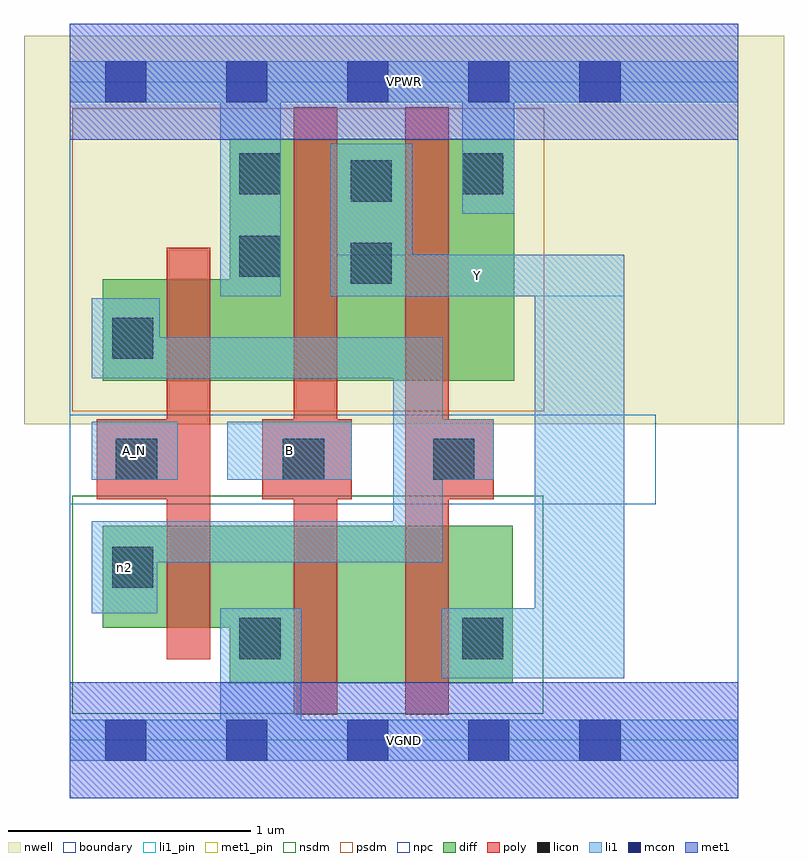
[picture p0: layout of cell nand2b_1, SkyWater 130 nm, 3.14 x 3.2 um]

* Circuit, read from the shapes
.subckt nand2b_1 A_N B VGND VPWR Y n2
XM1 VGND A_N n2 VSUBS sky130_fd_pr__nfet_01v8 w=0.42 l=0.18
XM2 n1 B VGND VSUBS sky130_fd_pr__nfet_01v8 w=0.65 l=0.18
XM3 Y n2 n1 VSUBS sky130_fd_pr__nfet_01v8 w=0.65 l=0.18
XM4 VPWR A_N n2 n3 sky130_fd_pr__pfet_01v8 w=0.42 l=0.18
XM5 Y B VPWR n3 sky130_fd_pr__pfet_01v8 w=1 l=0.18
XM6 VPWR n2 Y n3 sky130_fd_pr__pfet_01v8 w=1 l=0.18
.ends

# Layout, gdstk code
import gdstk
lib = gdstk.Library(unit=1e-6, precision=1e-09)
def R(c, l, rs):  # rectangles x0, y0, x1, y1
    for r in rs: c.add(gdstk.rectangle(r[:2], r[2:], *l))
def A(c, l, x, y, w, h, nx, ny, dx, dy):  # array of equal rectangles
    R(c, l, [(x+i*dx, y+j*dy, x+i*dx+w, y+j*dy+h) for i in range(nx) for j in range(ny)])
nwell = (64, 20)
diff = (65, 20)
poly = (66, 20)
licon = (66, 44)
li1_pin = (67, 16)
li1 = (67, 20)
mcon = (67, 44)
met1_pin = (68, 16)
met1 = (68, 20)
nsdm = (93, 44)
psdm = (94, 20)
npc = (95, 20)
boundary = (235, 4)

nand2b_1 = lib.new_cell('nand2b_1')
R(nand2b_1, nwell, [(-0.19,1.305,2.95,2.91), (0,1.305,2.76,2.91)])
R(nand2b_1, diff, [(0.66,0.235,1.83,0.885), (0.135,0.465,1.83,0.885), (0.135,1.485,1.835,1.905), (0.66,1.485,1.835,2.485)])
R(nand2b_1, poly, [(0.925,0.105,1.105,2.615), (1.385,0.105,1.565,2.615), (0.4,0.335,0.58,2.035), (0.11,0.995,0.58,1.325), (0.795,0.995,1.165,1.325), (1.385,0.995,1.75,1.325)])
R(nand2b_1, licon, [(0.7,0.335,0.87,0.505), (1.62,0.335,1.79,0.505), (0.175,0.63,0.345,0.8), (0.19,1.075,0.36,1.245), (0.88,1.075,1.05,1.245), (1.5,1.075,1.67,1.245), (0.175,1.575,0.345,1.745), (1.16,1.885,1.33,2.055), (0.7,1.915,0.87,2.085), (1.16,2.225,1.33,2.395), (0.7,2.255,0.87,2.425), (1.62,2.255,1.79,2.425)])
R(nand2b_1, li1_pin, [(0.09,1.075,0.445,1.315), (0.65,1.075,1.165,1.315), (1.075,1.835,2.29,2.005)])
R(nand2b_1, li1, [(0,-0.085,2.76,0.085), (0.62,-0.085,0.955,0.545), (1.535,0.255,2.29,0.545), (1.92,0.255,2.29,2.005), (0.09,0.525,0.36,0.905), (0.09,0.735,1.54,0.905), (1.335,0.735,1.54,1.665), (0.09,1.075,0.445,1.315), (0.65,1.075,1.165,1.315), (1.335,1.075,1.75,1.325), (0.09,1.495,1.54,1.665), (0.09,1.495,0.37,1.825), (0.62,1.835,0.87,2.805), (1.075,1.835,1.415,2.465), (1.075,1.835,2.29,2.005), (1.62,2.175,1.835,2.805), (0,2.635,2.76,2.805)])
A(nand2b_1, mcon, 0.145, -0.085, 0.17, 0.17, 4, 2, 0.5, 2.72)
R(nand2b_1, mcon, [(2.105,-0.085,2.275,0.085), (2.105,2.635,2.275,2.805)])
R(nand2b_1, met1_pin, [(0,-0.24,2.76,0.24), (0,2.48,2.76,2.96)])
R(nand2b_1, met1, [(0,-0.24,2.76,0.24), (0,2.48,2.76,2.96)])
R(nand2b_1, nsdm, [(0.01,0.11,1.955,1.01)])
R(nand2b_1, psdm, [(0.01,1.36,1.96,2.61)])
R(nand2b_1, npc, [(0,0.975,2.42,1.345)])
R(nand2b_1, boundary, [(0,0,2.76,2.72)])
nand2b_1.add(gdstk.Label('A_N', (0.267,1.195), layer=67, texttype=5))
nand2b_1.add(gdstk.Label('B', (0.907,1.195), layer=67, texttype=5))
nand2b_1.add(gdstk.Label('Y', (1.682,1.92), layer=67, texttype=5))
nand2b_1.add(gdstk.Label('n2', (0.225,0.715), layer=67, texttype=5))
nand2b_1.add(gdstk.Label('VPWR', (1.38,2.72), layer=68, texttype=5))
nand2b_1.add(gdstk.Label('VGND', (1.38,0), layer=68, texttype=5))
nand2b_1.add(gdstk.Label('A_N', (0.267,1.195), layer=67, texttype=16))
nand2b_1.add(gdstk.Label('B', (0.907,1.195), layer=67, texttype=16))
nand2b_1.add(gdstk.Label('Y', (1.682,1.92), layer=67, texttype=16))
nand2b_1.add(gdstk.Label('VPWR', (1.38,2.72), layer=68, texttype=16))
nand2b_1.add(gdstk.Label('VGND', (1.38,0), layer=68, texttype=16))

lib.write_gds('nand2b_1.gds')
